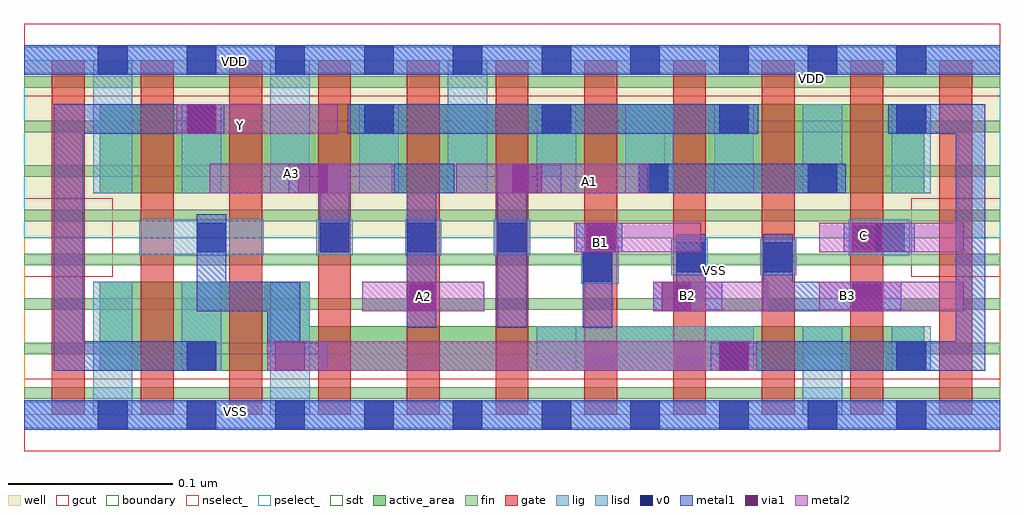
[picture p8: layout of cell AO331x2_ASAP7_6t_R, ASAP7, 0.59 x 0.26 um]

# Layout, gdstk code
import gdstk
lib = gdstk.Library(unit=1e-6, precision=2.5e-10)
def R(c, l, rs):  # rectangles x0, y0, x1, y1
    for r in rs: c.add(gdstk.rectangle(r[:2], r[2:], *l))
def A(c, l, x, y, w, h, nx, ny, dx, dy):  # array of equal rectangles
    R(c, l, [(x+i*dx, y+j*dy, x+i*dx+w, y+j*dy+h) for i in range(nx) for j in range(ny)])
def P(c, l, *ps):  # polygons
    for p in ps: c.add(gdstk.Polygon(p, *l))
well = (1, 0)
fin = (2, 0)
gate = (7, 0)
gcut = (10, 0)
active_area = (11, 0)
nselect_ = (12, 0)
pselect_ = (13, 0)
lig = (16, 0)
lisd = (17, 0)
v0 = (18, 0)
metal1 = (19, 0)
metal2 = (20, 0)
via1 = (21, 0)
sdt = (88, 0)
boundary = (100, 0)

ao331x2_asap7_6t_r = lib.new_cell('AO331x2_ASAP7_6t_R')
R(ao331x2_asap7_6t_r, well, [(0,0.108,0.594,0.216)])
A(ao331x2_asap7_6t_r, fin, 0, 0.01, 0.594, 0.007, 1, 8, 0, 0.027)
A(ao331x2_asap7_6t_r, gate, 0.017, 0, 0.02, 0.216, 11, 1, 0.054, 0)
R(ao331x2_asap7_6t_r, gcut, [(0,-0.022,0.594,0.022), (0,0.084,0.054,0.132), (0.54,0.084,0.594,0.132), (0,0.194,0.594,0.238)])
R(ao331x2_asap7_6t_r, active_area, [(0.046,0.135,0.548,0.189)])
P(ao331x2_asap7_6t_r, active_area, [(0.548,0.054),(0.174,0.054),(0.174,0.081),(0.046,0.081),(0.046,0.027),(0.548,0.027)])
R(ao331x2_asap7_6t_r, nselect_, [(0,0,0.594,0.108)])
R(ao331x2_asap7_6t_r, pselect_, [(0,0.108,0.594,0.216)])
A(ao331x2_asap7_6t_r, lig, 0.178, 0.097, 0.022, 0.022, 3, 1, 0.054, 0)
R(ao331x2_asap7_6t_r, lig, [(0,-0.008,0.594,0.008), (0.339,0.08,0.362,0.102), (0.394,0.085,0.416,0.107), (0.448,0.085,0.47,0.107), (0.07,0.097,0.146,0.119), (0.502,0.097,0.539,0.119), (0,0.208,0.594,0.224)])
A(ao331x2_asap7_6t_r, lisd, 0.042, 0.135, 0.024, 0.081, 3, 1, 0.108, 0)
A(ao331x2_asap7_6t_r, lisd, 0.096, 0.135, 0.024, 0.054, 4, 1, 0.108, 0)
R(ao331x2_asap7_6t_r, lisd, [(0.042,0,0.066,0.081), (0.15,0,0.174,0.081), (0.474,0,0.498,0.054), (0.096,0.027,0.12,0.081), (0.312,0.027,0.444,0.054), (0.528,0.027,0.552,0.054), (0.366,0.135,0.395,0.189), (0.474,0.135,0.498,0.189), (0.528,0.135,0.552,0.189)])
A(ao331x2_asap7_6t_r, v0, 0.045, -0.009, 0.018, 0.018, 10, 2, 0.054, 0.216)
A(ao331x2_asap7_6t_r, v0, 0.099, 0.171, 0.018, 0.018, 5, 1, 0.108, 0)
R(ao331x2_asap7_6t_r, v0, [(0.099,0.027,0.117,0.045), (0.423,0.027,0.441,0.045), (0.531,0.027,0.549,0.045), (0.34,0.081,0.358,0.099), (0.397,0.087,0.415,0.105), (0.45,0.087,0.468,0.105), (0.105,0.099,0.123,0.117), (0.18,0.099,0.198,0.117), (0.233,0.099,0.251,0.117), (0.288,0.099,0.306,0.117), (0.518,0.099,0.536,0.117), (0.374,0.135,0.392,0.153), (0.477,0.135,0.495,0.153)])
R(ao331x2_asap7_6t_r, metal1, [(0,-0.009,0.594,0.009), (0.499,0.099,0.542,0.117), (0.374,0.135,0.5,0.153), (0.197,0.171,0.447,0.189), (0,0.207,0.594,0.225)])
P(ao331x2_asap7_6t_r, metal1, [(0.585,0.189),(0.526,0.189),(0.526,0.171),(0.567,0.171),(0.567,0.045),(0.418,0.045),(0.418,0.027),(0.585,0.027)],
  [(0.534,0.081),(0.468,0.081),(0.468,0.11),(0.45,0.11),(0.45,0.063),(0.534,0.063)],
  [(0.425,0.081),(0.415,0.081),(0.415,0.11),(0.397,0.11),(0.397,0.081),(0.383,0.081),(0.383,0.063),(0.425,0.063)],
  [(0.364,0.117),(0.336,0.117),(0.336,0.099),(0.34,0.099),(0.34,0.053),(0.358,0.053),(0.358,0.099),(0.364,0.099)],
  [(0.327,0.153),(0.288,0.153),(0.288,0.053),(0.306,0.053),(0.306,0.135),(0.327,0.135)],
  [(0.262,0.153),(0.225,0.153),(0.225,0.135),(0.233,0.135),(0.233,0.053),(0.251,0.053),(0.251,0.135),(0.262,0.135)],
  [(0.198,0.153),(0.161,0.153),(0.161,0.135),(0.18,0.135),(0.18,0.099),(0.198,0.099)],
  [(0.185,0.045),(0.168,0.045),(0.168,0.081),(0.123,0.081),(0.123,0.122),(0.105,0.122),(0.105,0.063),(0.148,0.063),(0.148,0.027),(0.185,0.027)],
  [(0.117,0.045),(0.036,0.045),(0.036,0.171),(0.122,0.171),(0.122,0.189),(0.018,0.189),(0.018,0.027),(0.117,0.027)])
R(ao331x2_asap7_6t_r, metal2, [(0.148,0.027,0.446,0.045), (0.206,0.063,0.28,0.081), (0.383,0.063,0.453,0.081), (0.484,0.063,0.572,0.081), (0.335,0.099,0.412,0.117), (0.484,0.099,0.572,0.117), (0.113,0.135,0.224,0.153), (0.263,0.135,0.38,0.153), (0.093,0.171,0.191,0.189)])
R(ao331x2_asap7_6t_r, via1, [(0.153,0.027,0.171,0.045), (0.423,0.027,0.441,0.045), (0.233,0.063,0.251,0.081), (0.388,0.063,0.406,0.081), (0.504,0.063,0.522,0.081), (0.342,0.099,0.36,0.117), (0.504,0.099,0.522,0.117), (0.167,0.135,0.185,0.153), (0.297,0.135,0.315,0.153), (0.099,0.171,0.117,0.189)])
A(ao331x2_asap7_6t_r, sdt, 0.042, 0.027, 0.024, 0.054, 3, 1, 0.054, 0)
A(ao331x2_asap7_6t_r, sdt, 0.042, 0.135, 0.024, 0.054, 10, 1, 0.054, 0)
R(ao331x2_asap7_6t_r, sdt, [(0.312,0.027,0.336,0.054), (0.474,0.027,0.498,0.054), (0.528,0.027,0.552,0.054)])
R(ao331x2_asap7_6t_r, boundary, [(0,0,0.594,0.216)])
ao331x2_asap7_6t_r.add(gdstk.Label('VSS', (0.42,0.088), layer=3, texttype=251))
ao331x2_asap7_6t_r.add(gdstk.Label('VDD', (0.479,0.205), layer=1, texttype=251))
ao331x2_asap7_6t_r.add(gdstk.Label('VSS', (0.129,0.002), layer=19, texttype=251))
ao331x2_asap7_6t_r.add(gdstk.Label('VDD', (0.128,0.215), layer=19, texttype=251))
ao331x2_asap7_6t_r.add(gdstk.Label('Y', (0.132,0.176), layer=20, texttype=251))
ao331x2_asap7_6t_r.add(gdstk.Label('C', (0.511,0.109), layer=20, texttype=251))
ao331x2_asap7_6t_r.add(gdstk.Label('A3', (0.163,0.147), layer=20, texttype=251))
ao331x2_asap7_6t_r.add(gdstk.Label('A2', (0.243,0.072), layer=20, texttype=251))
ao331x2_asap7_6t_r.add(gdstk.Label('A1', (0.344,0.142), layer=20, texttype=251))
ao331x2_asap7_6t_r.add(gdstk.Label('B1', (0.351,0.105), layer=20, texttype=251))
ao331x2_asap7_6t_r.add(gdstk.Label('B2', (0.404,0.073), layer=20, texttype=251))
ao331x2_asap7_6t_r.add(gdstk.Label('B3', (0.501,0.073), layer=20, texttype=251))

lib.write_gds('AO331x2_ASAP7_6t_R.gds')
